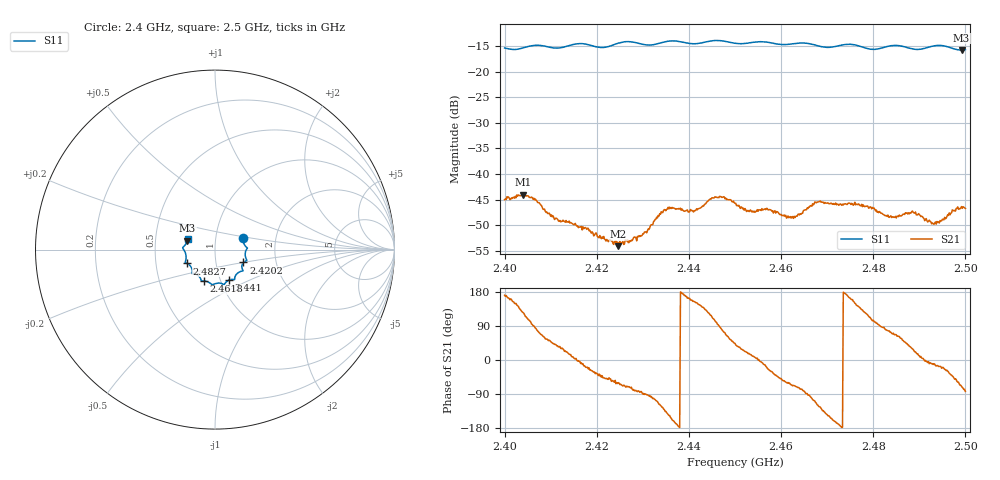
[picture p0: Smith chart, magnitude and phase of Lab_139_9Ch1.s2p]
# Hz S RI R 50
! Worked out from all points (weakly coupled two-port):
!   601 points, 2.4 GHz to 2.5 GHz, reference 50 ohm
!   highest |S21| = -44.03 dB at 2.404 GHz (marker M1); lowest = -54.1 dB at 2.4247 GHz (marker M2)
!   lowest |S11| = -15.8 dB at 2.4992 GHz (marker M3), VSWR 1.39, Z = 36.4 + j3.67 ohm
!   |S11| at or under -10 dB: start of sweep to end of sweep
!   S12 and S22 are empty: the file has one direction only
!   S11 on the Smith chart (normalised r, x): 2.4 GHz: 1.36, +0.18; 2.4202 GHz: 1.36, -0.20; 2.441 GHz: 1.10, -0.39; 2.4618 GHz: 0.84, -0.30; 2.4827 GHz: 0.72, -0.12; 2.5 GHz: 0.73, +0.09
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2.4e9  0.1582 0.0628  -0.00555 0.000884  0 0  0 0
2.404e9  0.1694 0.0194  -0.00364 0.00513  0 0  0 0
2.4065e9  0.1803 0.01  0.000261 0.00559  0 0  0 0
2.411333e9  0.1682 -0.0201  0.00292 0.00224  0 0  0 0
2.416667e9  0.1776 -0.0607  0.00305 -0.000414  0 0  0 0
2.420167e9  0.1581 -0.0714  0.00195 -0.00146  0 0  0 0
2.424667e9  0.1535 -0.1114  0.000995 -0.00171  0 0  0 0
2.429167e9  0.1441 -0.1212  0.00033 -0.00248  0 0  0 0
2.433333e9  0.1117 -0.151  -0.00155 -0.00363  0 0  0 0
2.436e9  0.1093 -0.1665  -0.00407 -0.00222  0 0  0 0
2.441e9  0.0784 -0.1698  -0.00387 0.0018  0 0  0 0
2.4455e9  0.051 -0.1943  -0.00168 0.00562  0 0  0 0
2.45e9  0.0284 -0.187  0.00374 0.00359  0 0  0 0
2.461833e9  -0.0595 -0.1753  0.00185 -0.0033  0 0  0 0
2.466667e9  -0.0783 -0.1681  -0.000924 -0.00476  0 0  0 0
2.4765e9  -0.1271 -0.1277  -0.00405 0.00301  0 0  0 0
2.482667e9  -0.156 -0.0773  0.00066 0.00387  0 0  0 0
2.483333e9  -0.1604 -0.0753  0.000881 0.0037  0 0  0 0
2.488667e9  -0.1609 -0.0414  0.00374 0.00198  0 0  0 0
2.493167e9  -0.1785 0.00534  0.00318 -0.000566  0 0  0 0
2.499167e9  -0.1547 0.049  0.00167 -0.00451  0 0  0 0
2.5e9  -0.1524 0.0607  0.000577 -0.00458  0 0  0 0
